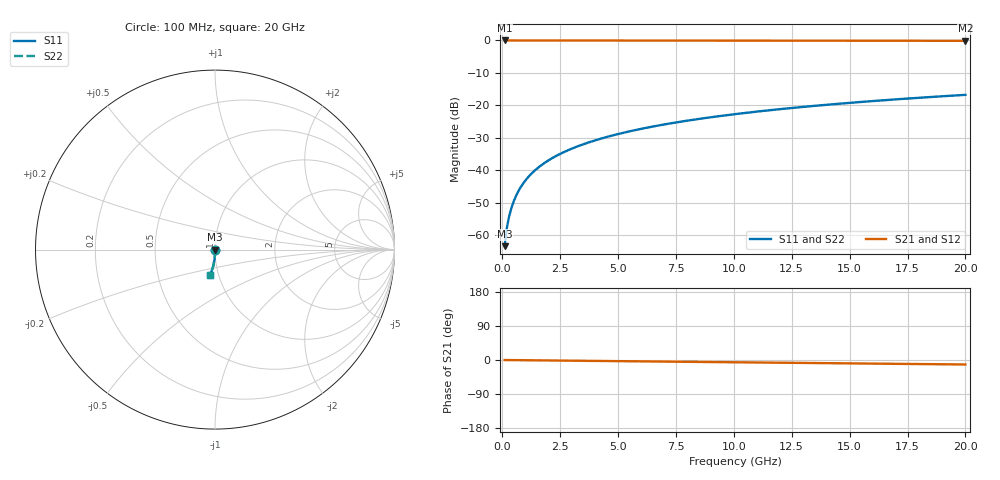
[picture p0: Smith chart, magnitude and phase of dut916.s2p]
! Touchstone file exported from HFSS 2026.1.0
!  File:  C:/ffzhzh/LocalFiles/Ansys_Project_Files/temp_train_TSV_916_1783186521_18472.aedt
!  Generated:  01:36:45 AM Jul  5, 2026
!  Design:  TSV
!  Project:  temp_train_TSV_916_1783186521_18472
! Variables:
!  h_bsmrdl = 2um
!  h_ox = 20um
!  h_rdl = 5um
!  h_sub = 91.81um
!  h_tmrdl = 5um
!  h_tsv = 91.81um
!  h_via = 3um
!  l_bsmrdl = 300um
!  l_sub = 416.32um
!  l_tmrdl = 200um
!  m_sub = 200um
!  pitch = 18.71um
!  r_tsv = 8.16um
!  s_tmrdl = 10um
!  w_bsmrdl = 18um
!  w_sub = 500um
!  w_tmrdl = 12um
!  x_tsv_center1 = 206um
!  x_tsv_center2 = 524um
!  x_tsv_center3 = 736um
!  x_tsv_center4 = 1054um
!  x_tsv_center5 = 1266um
!  x_tsv_center6 = 1584um
# GHz S MA R 50.000000
! Terminal data exported
! Port[1] = TSV1_1_T1
! Port[2] = TSV1_1_T2
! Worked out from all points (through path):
!   200 points, 100 MHz to 20 GHz, reference 50 ohm
!   highest |S21| = 0.00 dB at 100 MHz (marker M1); lowest = -0.1 dB at 20 GHz (marker M2)
!   group delay of S21, straight-line fit = 1.64 ps
!   lowest |S11| = -63.4 dB at 100 MHz (marker M3), VSWR 1.00, Z = 50 - j0.064 ohm
!   |S11| at or under -10 dB: start of sweep to end of sweep
!   |S22| runs from -63.4 to -16.8 dB; largest |S21 - S12| = 3.1e-15
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0.1  0.0006782 -70.6  0.9998 -0.1  0.9998 -0.1  0.0006782 -70.6
! Gamma 0 0 0 0
! Port Impedance 50 0 50 0
0.2  0.001317 -78.7  0.9997 -0.1  0.9997 -0.1  0.001317 -78.7
0.3  0.001984 -81.2  0.9997 -0.2  0.9997 -0.2  0.001984 -81.2
0.4  0.002672 -82.4  0.9996 -0.3  0.9996 -0.3  0.002672 -82.4
0.5  0.003375 -83.2  0.9996 -0.3  0.9996 -0.3  0.003375 -83.2
0.7  0.004809 -84.4  0.9995 -0.4  0.9995 -0.4  0.004809 -84.4
0.8  0.005533 -84.9  0.9994 -0.5  0.9994 -0.5  0.005533 -84.9
1  0.006987 -85.7  0.9994 -0.6  0.9994 -0.6  0.006987 -85.7
1.2  0.008443 -86.3  0.9993 -0.7  0.9993 -0.7  0.008443 -86.3
1.4  0.009899 -86.9  0.9993 -0.9  0.9993 -0.9  0.009899 -86.9
1.7  0.01208 -87.5  0.9992 -1.0  0.9992 -1.0  0.01208 -87.5
2  0.01426 -88.1  0.9991 -1.2  0.9991 -1.2  0.01426 -88.1
2.7  0.01936 -89.0  0.9989 -1.6  0.9989 -1.6  0.01936 -89.0
3.5  0.0252 -89.8  0.9987 -2.1  0.9987 -2.1  0.0252 -89.8
4.2  0.03032 -90.4  0.9984 -2.5  0.9984 -2.5  0.03032 -90.4
5  0.03618 -91.0  0.9981 -3.0  0.9981 -3.0  0.03618 -91.0
6.8  0.04941 -92.4  0.9973 -4.1  0.9973 -4.1  0.04941 -92.4
8.3  0.06043 -93.4  0.9965 -5.0  0.9965 -5.0  0.06043 -93.4
10.1  0.07364 -94.6  0.9954 -6.0  0.9954 -6.0  0.07364 -94.6
13.4  0.09774 -96.7  0.9931 -8.0  0.9931 -8.0  0.09774 -96.7
16.7  0.1216 -98.8  0.9901 -9.9  0.9901 -9.9  0.1216 -98.8
20  0.1453 -100.8  0.9867 -11.9  0.9867 -11.9  0.1453 -100.8
